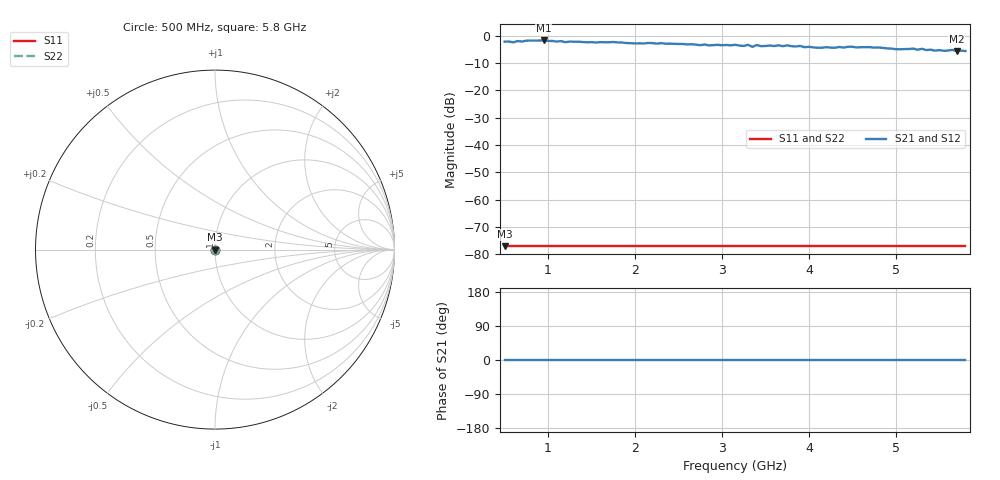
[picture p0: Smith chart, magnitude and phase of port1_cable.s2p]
# GHZ S RI R 50
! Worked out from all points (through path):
!   107 points, 500 MHz to 5.8 GHz, reference 50 ohm
!   highest |S21| = -1.73 dB at 950 MHz (marker M1); lowest = -5.6 dB at 5.7 GHz (marker M2)
!   lowest |S11| = -77.0 dB at 500 MHz (marker M3), VSWR 1.00, Z = 50 + j0.01 ohm
!   |S11| at or under -10 dB: start of sweep to end of sweep
!   |S22| runs from -77.0 to -77.0 dB; largest |S21 - S12| = 0
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0.5  0.0001 0.0001  0.7794 0  0.7794 0  0.0001 0.0001
0.6  0.0001 0.0001  0.7574 0  0.7574 0  0.0001 0.0001
0.65  0.0001 0.0001  0.8001 0  0.8001 0  0.0001 0.0001
0.95  0.0001 0.0001  0.8197 0  0.8197 0  0.0001 0.0001
1.15  0.0001 0.0001  0.7974 0  0.7974 0  0.0001 0.0001
1.2  0.0001 0.0001  0.7607 0  0.7607 0  0.0001 0.0001
1.4  0.0001 0.0001  0.7662 0  0.7662 0  0.0001 0.0001
2.3  0.0001 0.0001  0.7322 0  0.7322 0  0.0001 0.0001
2.85  0.0001 0.0001  0.664 0  0.664 0  0.0001 0.0001
3.15  0.0001 0.0001  0.6832 0  0.6832 0  0.0001 0.0001
3.25  0.0001 0.0001  0.6492 0  0.6492 0  0.0001 0.0001
3.3  0.0001 0.0001  0.6812 0  0.6812 0  0.0001 0.0001
3.35  0.0001 0.0001  0.6262 0  0.6262 0  0.0001 0.0001
3.4  0.0001 0.0001  0.6774 0  0.6774 0  0.0001 0.0001
3.45  0.0001 0.0001  0.6447 0  0.6447 0  0.0001 0.0001
3.75  0.0001 0.0001  0.6682 0  0.6682 0  0.0001 0.0001
4.05  0.0001 0.0001  0.6128 0  0.6128 0  0.0001 0.0001
4.5  0.0001 0.0001  0.6289 0  0.6289 0  0.0001 0.0001
4.95  0.0001 0.0001  0.5822 0  0.5822 0  0.0001 0.0001
5.65  0.0001 0.0001  0.5507 0  0.5507 0  0.0001 0.0001
5.7  0.0001 0.0001  0.5241 0  0.5241 0  0.0001 0.0001
5.8  0.0001 0.0001  0.5255 0  0.5255 0  0.0001 0.0001
